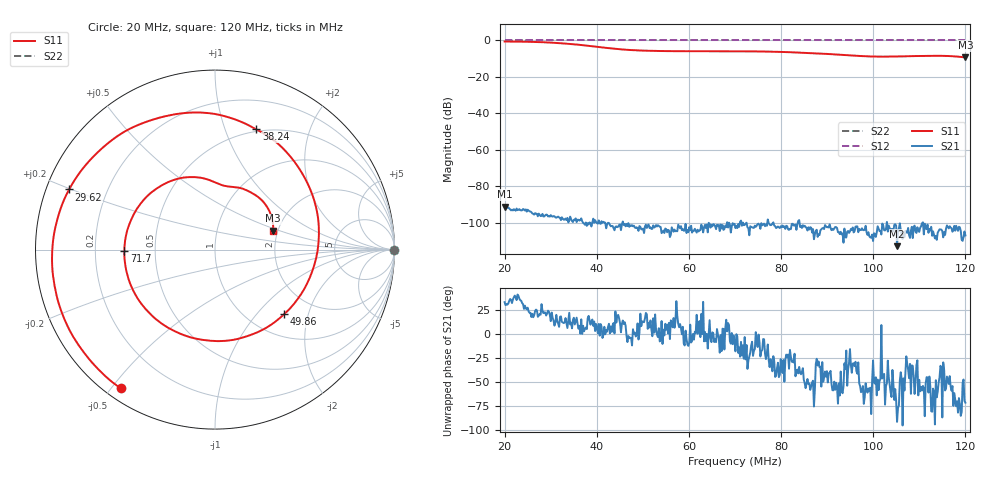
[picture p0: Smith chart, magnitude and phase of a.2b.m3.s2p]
! Anritsu VNA Master:  Model: MS2036C/10/77
! SN:  1601066
! /bd0/18may09/252.ns.m3.s2p
! Existing Calibration Information:
! TYPE:  Current Settings,  Active Cal Settings
! TIME:  05/09/2018 08:55:01 AM,  05/09/2018 08:47:23 AM
! INTERNAL TEMP:  39.8 C,  40.0 C
! # POINTS:  500,  500
! START FREQ:  20.000 MHz,  20.000 MHz
! STOP FREQ:  120.000 MHz,  120.000 MHz
! SOURCE POWER:  High,  High
! IFBW:  50 Hz,  50 Hz
! AVG FACTOR:  1 ,  1
! REF PLANE 1:  0 mm,  0 mm
! REF PLANE 2:  0 mm,  0 mm
! CAL TYPE:  Full S11,  Full S11
! CAL METHOD:  SOLT,  SOLT
! CAL LINE TYPE:  Coax,  Coax
! DUT PORT 1:  K-Conn(F),  K-Conn(F)
! DUT PORT 2:  K-Conn(F),  K-Conn(F)
! CAL STATUS:  OK: Accuracy High,  --
# GHZ S DB R 50.0
! FREQ.GHZ  S11DB  S11A  S21DB  S21A  S12DB  S12A  S22DB  S22A
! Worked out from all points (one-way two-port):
!   500 points, 20 MHz to 120 MHz, reference 50 ohm
!   highest |S21| = -91.13 dB at 20 MHz (marker M1); lowest = -112.9 dB at 105.2 MHz (marker M2)
!   lowest |S11| = -9.3 dB at 120 MHz (marker M3), VSWR 2.04, Z = 94.4 + j22.7 ohm
!   |S11| at or under -10 dB: nowhere
!   |S22| runs from 0.0 to 0.0 dB; largest |S21 - S12| = 1
!   S11 on the Smith chart (normalised r, x): 20 MHz: 0.04, -0.53; 29.62 MHz: 0.07, +0.20; 38.24 MHz: 0.48, +1.29; 49.86 MHz: 1.42, -1.42; 71.7 MHz: 0.33, -0.01; 120 MHz: 1.89, +0.45
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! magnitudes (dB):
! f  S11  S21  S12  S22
! 20 MHz  -0.6  -91.1  0.0  0.0
! 26.21 MHz  -0.8  -95.1  0.0  0.0
! 29.62 MHz  -1.1  -96.3  0.0  0.0
! 32.83 MHz  -1.6  -98.3  0.0  0.0
! 36.83 MHz  -2.6  -99.2  0.0  0.0
! 38.24 MHz  -3.0  -101.0  0.0  0.0
! 44.85 MHz  -4.8  -101.2  0.0  0.0
! 46.85 MHz  -5.2  -100.2  0.0  0.0
! 49.86 MHz  -5.6  -103.6  0.0  0.0
! 53.47 MHz  -5.8  -101.7  0.0  0.0
! 70.1 MHz  -5.9  -103.0  0.0  0.0
! 71.7 MHz  -5.9  -99.9  0.0  0.0
! 79.92 MHz  -6.3  -101.9  0.0  0.0
! 86.73 MHz  -6.9  -105.4  0.0  0.0
! 97.96 MHz  -8.6  -104.1  0.0  0.0
! 100.6 MHz  -8.8  -107.8  0.0  0.0
! 103.4 MHz  -8.9  -101.5  0.0  0.0
! 105.2 MHz  -8.8  -112.9  0.0  0.0
! 108.8 MHz  -8.6  -102.3  0.0  0.0
! 114.8 MHz  -8.4  -103.8  0.0  0.0
! 117.6 MHz  -8.7  -101.7  0.0  0.0
! 120 MHz  -9.3  -106.9  0.0  0.0
